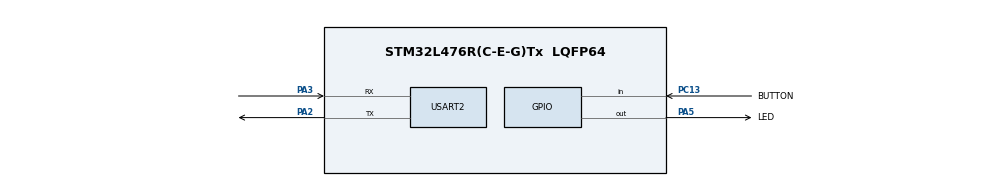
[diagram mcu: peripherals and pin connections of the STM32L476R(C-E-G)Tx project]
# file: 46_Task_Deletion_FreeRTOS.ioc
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FREERTOS.Tasks01=defaultTask,0,128,StartDefaultTask,Default,NULL,Dynamic,NULL,NULL
Mcu.Family=STM32L4
Mcu.Name=STM32L476R(C-E-G)Tx
Mcu.Package=LQFP64
NVIC.PriorityGroup=NVIC_PRIORITYGROUP_4
PA2.Mode=Asynchronous
PA2.Signal=USART2_TX
PA3.Mode=Asynchronous
PA3.Signal=USART2_RX
PA5.GPIO_Label=LED
PA5.PinState=GPIO_PIN_RESET
PA5.Signal=GPIO_Output
PC13.GPIO_Label=BUTTON
PC13.GPIO_PuPd=GPIO_PULLUP
PC13.Signal=GPIO_Input
ProjectManager.HeapSize=0x200
ProjectManager.StackSize=0x400
ProjectManager.TargetToolchain=STM32CubeIDE
RCC.HSE_VALUE=8000000
RCC.HSI_VALUE=16000000
RCC.LSE_VALUE=32768
RCC.MSI_VALUE=4000000
RCC.VCOOutputFreq_Value=32000000
USART2.VirtualMode-Asynchronous=VM_ASYNC
VP_FREERTOS_VS_CMSIS_V1.Mode=CMSIS_V1
board=custom

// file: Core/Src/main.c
/* USER CODE BEGIN Header */
/**
  ******************************************************************************
  * @file           : main.c
  * @brief          : Main program body
  ******************************************************************************
  * @attention
  *
  * Copyright (c) 2026 STMicroelectronics.
  * All rights reserved.
  *
  * This software is licensed under terms that can be found in the LICENSE file
  * in the root directory of this software component.
  * If no LICENSE file comes with this software, it is provided AS-IS.
  *
  ******************************************************************************
  */
/* USER CODE END Header */
#include "main.h"
#include "cmsis_os.h"

/* USER CODE BEGIN Includes */
#include<stdio.h>
/* USER CODE END Includes */

/* USER CODE BEGIN PD */
#define NOT_PRESSED 0
#define PRESSED 1
/* USER CODE END PD */

UART_HandleTypeDef huart2;

osThreadId defaultTaskHandle;
/* USER CODE BEGIN PV */

TaskHandle_t xTaskHandle1 = NULL;
TaskHandle_t xTaskHandle2 = NULL;

uint8_t button_status = NOT_PRESSED;

uint8_t buff[15] = "Task_led\n\r";
uint8_t buff2[15] = "Task_button\n\r";
/* USER CODE END PV */

void SystemClock_Config(void);
static void MX_GPIO_Init(void);
static void MX_USART2_UART_Init(void);
void StartDefaultTask(void const * argument);

/* USER CODE BEGIN 0 */
void led_task_handler(void *params)
{
	printf("led task\r\n");
	while(1)
	{
		vTaskDelay(pdMS_TO_TICKS(100));
		HAL_GPIO_TogglePin(LED_GPIO_Port, LED_Pin);
	}

}

void button_Task_handler(void *params)
{
	printf("button task\r\n");
	while(1)
	{
		if(HAL_GPIO_ReadPin(BUTTON_GPIO_Port, BUTTON_Pin))
		{
			vTaskDelay(pdMS_TO_TICKS(1000));
			HAL_GPIO_TogglePin(LED_GPIO_Port, LED_Pin);

		}else
		{
			printf("Button task deleting..\r\n");
			vTaskDelete(NULL);
		}
	}
}

/* USER CODE END 0 */

int main(void)
{

  /* MCU Configuration--------------------------------------------------------*/

  /* Reset of all peripherals, Initializes the Flash interface and the Systick. */
  HAL_Init();

  /* Configure the system clock */
  SystemClock_Config();

  /* Initialize all configured peripherals */
  MX_GPIO_Init();
  MX_USART2_UART_Init();
  /* USER CODE BEGIN 2 */
  printf("Testing the SVW...\n");

  /* USER CODE END 2 */

  /* Create the thread(s) */
  /* definition and creation of defaultTask */
  osThreadDef(defaultTask, StartDefaultTask, osPriorityNormal, 0, 128);
  defaultTaskHandle = osThreadCreate(osThread(defaultTask), NULL);

  /* USER CODE BEGIN RTOS_THREADS */
  /* add threads, ... */
  //create Led task
  xTaskCreate(led_task_handler,
		  "Led-Task",
		  200,
		  NULL,
		  2,
		  &xTaskHandle1);

  //create button task
  xTaskCreate(button_Task_handler,
		  "Button-Task",
		  200,
		  NULL,
		  3,
		  &xTaskHandle2);
  /* USER CODE END RTOS_THREADS */

  /* Start scheduler */
  osKernelStart();

  /* We should never get here as control is now taken by the scheduler */

  /* Infinite loop */
  while (1)
  {

  }
}

void SystemClock_Config(void)
{
  RCC_OscInitTypeDef RCC_OscInitStruct = {0};
  RCC_ClkInitTypeDef RCC_ClkInitStruct = {0};

  /** Configure the main internal regulator output voltage
  */
  if (HAL_PWREx_ControlVoltageScaling(PWR_REGULATOR_VOLTAGE_SCALE1) != HAL_OK)
  {
    Error_Handler();
  }

  /** Initializes the RCC Oscillators according to the specified parameters
  * in the RCC_OscInitTypeDef structure.
  */
  RCC_OscInitStruct.OscillatorType = RCC_OSCILLATORTYPE_MSI;
  RCC_OscInitStruct.MSIState = RCC_MSI_ON;
  RCC_OscInitStruct.MSICalibrationValue = 0;
  RCC_OscInitStruct.MSIClockRange = RCC_MSIRANGE_6;
  RCC_OscInitStruct.PLL.PLLState = RCC_PLL_NONE;
  if (HAL_RCC_OscConfig(&RCC_OscInitStruct) != HAL_OK)
  {
    Error_Handler();
  }

  /** Initializes the CPU, AHB and APB buses clocks
  */
  RCC_ClkInitStruct.ClockType = RCC_CLOCKTYPE_HCLK|RCC_CLOCKTYPE_SYSCLK
                              |RCC_CLOCKTYPE_PCLK1|RCC_CLOCKTYPE_PCLK2;
  RCC_ClkInitStruct.SYSCLKSource = RCC_SYSCLKSOURCE_MSI;
  RCC_ClkInitStruct.AHBCLKDivider = RCC_SYSCLK_DIV1;
  RCC_ClkInitStruct.APB1CLKDivider = RCC_HCLK_DIV1;
  RCC_ClkInitStruct.APB2CLKDivider = RCC_HCLK_DIV1;

  if (HAL_RCC_ClockConfig(&RCC_ClkInitStruct, FLASH_LATENCY_0) != HAL_OK)
  {
    Error_Handler();
  }
}

static void MX_USART2_UART_Init(void)
{

  huart2.Instance = USART2;
  huart2.Init.BaudRate = 115200;
  huart2.Init.WordLength = UART_WORDLENGTH_8B;
  huart2.Init.StopBits = UART_STOPBITS_1;
  huart2.Init.Parity = UART_PARITY_NONE;
  huart2.Init.Mode = UART_MODE_TX_RX;
  huart2.Init.HwFlowCtl = UART_HWCONTROL_NONE;
  huart2.Init.OverSampling = UART_OVERSAMPLING_16;
  huart2.Init.OneBitSampling = UART_ONE_BIT_SAMPLE_DISABLE;
  huart2.AdvancedInit.AdvFeatureInit = UART_ADVFEATURE_NO_INIT;
  if (HAL_UART_Init(&huart2) != HAL_OK)
  {
    Error_Handler();
  }

}

static void MX_GPIO_Init(void)
{
  GPIO_InitTypeDef GPIO_InitStruct = {0};

  /* GPIO Ports Clock Enable */
  __HAL_RCC_GPIOC_CLK_ENABLE();
  __HAL_RCC_GPIOA_CLK_ENABLE();

  /*Configure GPIO pin Output Level */
  HAL_GPIO_WritePin(LED_GPIO_Port, LED_Pin, GPIO_PIN_RESET);

  /*Configure GPIO pin : BUTTON_Pin */
  GPIO_InitStruct.Pin = BUTTON_Pin;
  GPIO_InitStruct.Mode = GPIO_MODE_INPUT;
  GPIO_InitStruct.Pull = GPIO_PULLUP;
  HAL_GPIO_Init(BUTTON_GPIO_Port, &GPIO_InitStruct);

  /*Configure GPIO pin : LED_Pin */
  GPIO_InitStruct.Pin = LED_Pin;
  GPIO_InitStruct.Mode = GPIO_MODE_OUTPUT_PP;
  GPIO_InitStruct.Pull = GPIO_NOPULL;
  GPIO_InitStruct.Speed = GPIO_SPEED_FREQ_LOW;
  HAL_GPIO_Init(LED_GPIO_Port, &GPIO_InitStruct);

}

void StartDefaultTask(void const * argument)
{
  for(;;)
  {
    osDelay(1);
  }
}

void Error_Handler(void)
{
  __disable_irq();
  while (1)
  {
  }
}
